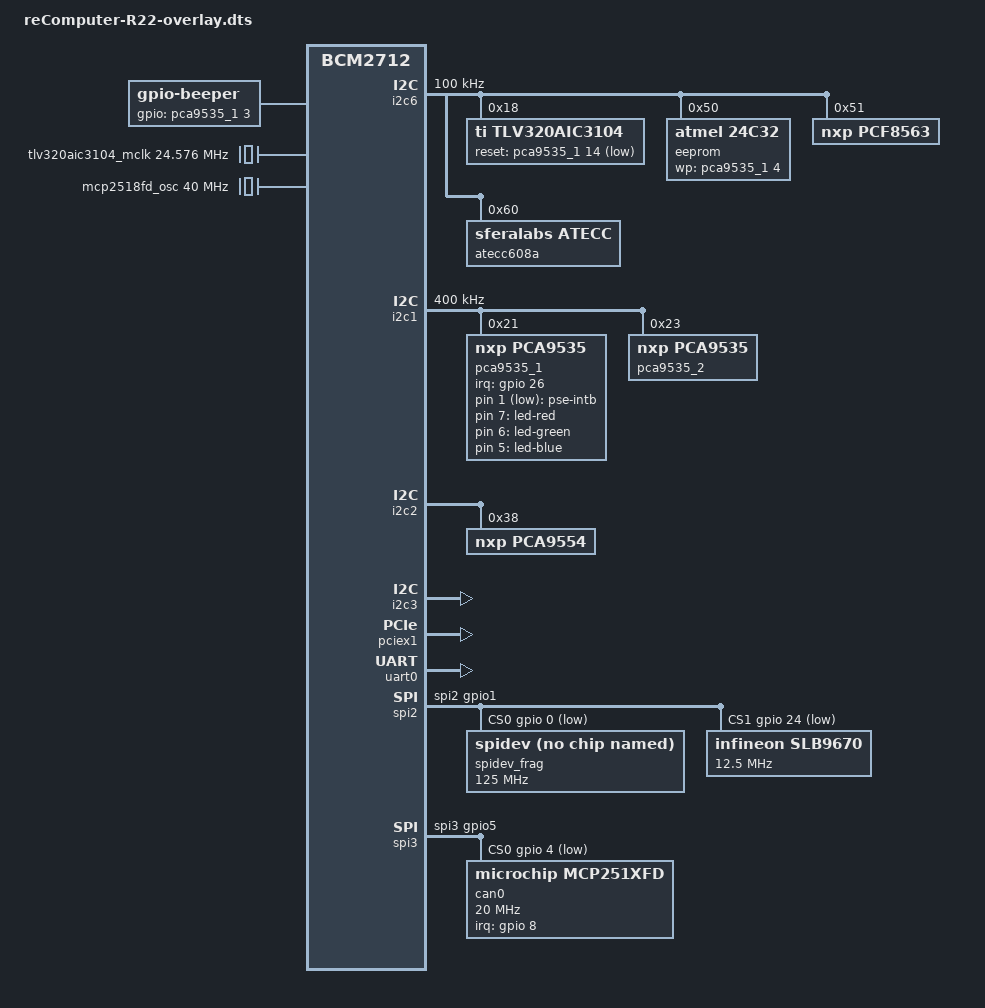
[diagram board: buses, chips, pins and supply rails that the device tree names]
/dts-v1/;
/plugin/;

#include "dt-bindings/gpio/gpio.h"
#include <dt-bindings/input/input.h>
#include <dt-bindings/interrupt-controller/irq.h>

/ {
	compatible = "brcm,bcm2712";
	
	fragment@0 {
		target-path="/";
		__overlay__ {
			hardware = "reComputer R22";
		};
	};
	
	fragment@1 {
		target = <&i2c6>;
		__overlay__ {
			status = "okay";
			pinctrl-0 = <&rp1_i2c6_38_39>;
			pinctrl-names = "default";
			clock-frequency = <100000>;
			#address-cells = <1>;
			#size-cells = <0>;
			
			tlv320aic3104: tlv320aic3104@18 {
				#sound-dai-cells = <0>;
				compatible = "ti,tlv320aic3104";
				reg = <0x18>;
				gpio-reset = <&pca9535_1 14 GPIO_ACTIVE_LOW>;
				ai3x-micbias-vg = <2>;// set MICBIAS to 2.5v
			};
			
			eeprom@50 {
				compatible = "atmel,24c32";
				reg = <0x50>;
				wp-gpios = <&pca9535_1 4 0>;
			};
			
			pcf8563@51 {
				compatible = "nxp,pcf8563";
				reg = <0x51>;
				reset-source;
				/* 0 = 4096Hz, 1 = 64Hz, 2 = 1Hz, 3 = 1/60Hz */
				timer-frequency = <0x02>;
				/* Timeout count, max 255 min 2*/
				default-timeout =  <120>;
				min-hw-heartbeat-ms = <2000>;
			};
			
			atecc608a@60 {
				compatible = "sferalabs,atecc";
				reg = <0x60>;
				status = "okay";
			};
		};
	};
	
	fragment@2 {
		target = <&i2c1>;
		__overlay__ {
			status = "okay";
			pinctrl-0 = <&rp1_i2c1_10_11>;
			pinctrl-names = "default";
			clock-frequency = <400000>;
			#address-cells = <1>;
			#size-cells = <0>;
			
			pca9535_1: pca@21 {
				compatible = "nxp,pca9535";
				reg = <0x21>;
				status = "okay";
				
				gpio-controller;
				#gpio-cells = <2>;
				interrupt-controller;
				#interrupt-cells = <2>;

				interrupt-parent = <&gpio>;
				interrupts = <26 IRQ_TYPE_LEVEL_LOW>;

				gpio-line-names =
				"PSE_PG",
				"PSE_INTB",
				"TPM_RST",
				"Buzzer_EN",
				"EEP_WP",
				"USER_LED_B",
				"USER_LED_G",
				"USER_LED_R",
				"LoRaWAN_SX1302_RST",
				"LoRaWAN_SX1262_RST",
				"LoRaWAN_SX1262_CS",
				"RS485_POWER_EN",
				"CH344_RST",
				"PSE_PWR_EN",
				"Codec_RST",
				"LAN7800_RST"
				;
				
				PSE_PG {
					gpios = <&pca9535_1 0 0>;
					output-high;
					line-name = "PSE_PG";
				};
				
				PSE_INTB {
					gpios = <&pca9535_1 1 0>;
					output-high;
					line-name = "PSE_INTB";
				};
				
				TPM_RST {
					gpios = <&pca9535_1 2 0>;
					output-high;
					line-name = "TPM_RST";
				};
				
				Buzzer_EN {
					gpios = <&pca9535_1 3 0>;
					output-high;
					line-name = "Buzzer_EN";
				};
				
				EEP_WP {
					gpios = <&pca9535_1 4 0>;
					output-high;
					line-name = "EEP_WP";
				};
				
				USER_LED_B {
					gpios = <&pca9535_1 5 0>;
					output-high;
					line-name = "USER_LED_B";
				};
				
				USER_LED_G {
					gpios = <&pca9535_1 6 0>;
					output-high;
					line-name = "USER_LED_G";
				};
				
				USER_LED_R {
					gpios = <&pca9535_1 7 0>;
					output-high;
					line-name = "USER_LED_R";
				};
				
				LoRaWAN_SX1302_RST {
					gpios = <&pca9535_1 8 0>;
					output-low;
					line-name = "LoRaWAN_SX1302_RST";
				};
				
				LoRaWAN_SX1262_RST {
					gpios = <&pca9535_1 9 0>;
					output-low;
					line-name = "LoRaWAN_SX1262_RST";
				};
				
				LoRaWAN_SX1262_CS {
					gpios = <&pca9535_1 10 0>;
					output-low;
					line-name = "LoRaWAN_SX1262_CS";
				};
				
				RS485_POWER_EN {
					gpios = <&pca9535_1 11 0>;
					output-low;
					line-name = "RS485_POWER_EN";
				};
				
				CH344_RST {
					gpios = <&pca9535_1 12 0>;
					output-low;
					line-name = "CH344_RST";
				};
				
				PSE_PWR_EN {
					gpios = <&pca9535_1 13 0>;
					output-low;
					line-name = "PSE_PWR_EN";
				};
				
				Codec_RST {
					gpios = <&pca9535_1 14 0>;
					
					output-high;
					line-name = "Codec_RST";
				};
				
				LAN7800_RST {
					gpios = <&pca9535_1 15 0>;
					output-low;
					line-name = "LAN7800_RST";
				};
			};
			
			pca9535_2: pca@23 {
				compatible = "nxp,pca9535";
				reg = <0x23>;
				status = "okay";
				
				gpio-controller;
				#gpio-cells = <2>;
				
				gpio-line-names =
				"P0",
				"P1",
				"P2",
				"P3",
				"P4",
				"P5",
				"P6",
				"P7",
				"485_1_120R_EN",
				"485_2_120R_EN",
				"CAN_120R_EN",
				"P13",
				"P14",
				"P15",
				"P16",
				"P17"
				;
				
				485_1_120R_EN {
					gpios = <&pca9535_2 8 0>;
					output-high;
					line-name = "485_1_120R_EN";
				};
				
				485_2_120R_EN {
					gpios = <&pca9535_2 9 0>;
					output-high;
					line-name = "485_2_120R_EN";
				};
				
				CAN_120R_EN {
					gpios = <&pca9535_2 10 0>;
					output-high;
					line-name = "CAN_120R_EN";
				};
			};
		};
	};
	
	fragment@3 {
		target = <&i2c2>;
		__overlay__ {
			status = "okay";
			pinctrl-0 = <&rp1_i2c2_12_13>;
			pinctrl-names = "default";
			#address-cells = <1>;
			#size-cells = <0>;
			
			pca9554: pca@38 {
				compatible = "nxp,pca9554";
				reg = <0x38>;
				status = "okay";
				
				gpio-controller;
				#gpio-cells = <2>;
				
				gpio-line-names =
				"M2B_POWER_OFF",
				"M2B_W_DISABLE1",
				"M2B_DPR_3V3",
				"M2B_W_DISABLE2",
				"SIM_MUX_SEL",
				"M2B_PCIe_Reset_3V3"
				;
				
				M2B_POWER_OFF {
					gpios = <&pca9554 0 0>;
					output-high;
					line-name = "M2B_POWER_OFF";
				};
				
				M2B_W_DISABLE1 {
					gpios = <&pca9554 1 0>;
					output-low;
					line-name = "M2B_W_DISABLE1";
				};
				
				M2B_DPR_3V3 {
					gpios = <&pca9554 2 0>;
					output-high;
					line-name = "M2B_DPR_3V3";
				};
				
				M2B_W_DISABLE2 {
					gpios = <&pca9554 3 0>;
					output-high;
					line-name = "M2B_W_DISABLE2";
				};
				
				SIM_MUX_SEL {
					gpios = <&pca9554 4 0>;
					output-high;
					line-name = "SIM_MUX_SEL";
				};
				
				M2B_PCIe_Reset_3V3 {
					gpios = <&pca9554 5 0>;
					output-low;
					line-name = "M2B_PCIe_Reset_3V3";
				};
			};
		};
	};
	
	fragment@4 {
		target = <&i2c3>;
		__overlay__ {
			status = "okay";
			pinctrl-0 = <&rp1_i2c3_22_23>;
			pinctrl-names = "default";
			#address-cells = <1>;
			#size-cells = <0>;
		};
	};
	
	fragment@5 {
		target-path="/";
		__overlay__ {
			beeper: beeper {
				compatible = "gpio-beeper";
				gpios = <&pca9535_1 3 0>;
				status = "okay";
			};
		};
	};
	
	fragment@6 {
		target = <&leds>;
		__overlay__ {
			compatible = "gpio-leds";
			led_red: led_red {
				label = "led-red";
				linux,default-trigger = "default-off";
				gpios = <&pca9535_1 7 0>;
				default-state = "off";
			};
			
			led_green: led_green {
				label = "led-green";
				linux,default-trigger = "default-off";
				gpios = <&pca9535_1 6 0>;
				default-state = "off";
			};
			
			led_blue: led_blue {
				label = "led-blue";
				linux,default-trigger = "default-off";
				gpios = <&pca9535_1 5 0>;
				default-state = "off";
			};
		};
	};
	
	fragment@7 {
		target = <&pciex1>;
		__overlay__ {
			max-link-speed = <3>;
			status = "okay";
		};
	};
	
	fragment@8 {
		target = <&uart0>;
		__overlay__ {
			status = "okay";
		};
	};
	
	fragment@9 {
		target = <&gpio>;
		__overlay__ {
			spi2_cs_pins: spi2_cs_pins {
				functions = "spi2";
				pins = "gpio0", "gpio24";
				bias-pull-up;
			};
		};
	};
	
	fragment@10 {
		target = <&spi2>;
		__overlay__ {
			status = "okay";
			pinctrl-names = "default";
			pinctrl-0 = <&rp1_spi2_gpio1 &spi2_cs_pins>;
			cs-gpios = <&gpio 0 1>, <&gpio 24 1>;
			
			#address-cells = <1>;
			#size-cells = <0>;
			
			spidev_frag: spidev@0 {
				compatible = "spidev";
				reg = <0>;      /* CE0 */
				#address-cells = <1>;
				#size-cells = <0>;
				spi-max-frequency = <125000000>;
				status = "okay";
			};
			
			slb9670: slb9670@1 {
				compatible = "infineon,slb9670";
				reg = <1>;  /* CE1 */
				#address-cells = <1>;
				#size-cells = <0>;
				spi-max-frequency = <12500000>;
				status = "okay";
			};
		};
	};
	
	fragment@11 {
		target-path = "/clocks";
		__overlay__ {
			/* external 40M oscillator of mcp2518fd on SPI3.0 */
			mcp2518fd_osc: mcp2518fd_osc {
				compatible = "fixed-clock";
				#clock-cells = <0>;
				clock-frequency  = <40000000>;
			};
		};
	};
	
	fragment@12 {
		target = <&gpio>;
		__overlay__ {
			can_int_pins: can_int_pins {
				brcm,pins = <8>;
				brcm,function = <0>; /* input */
			};

            spi3_cs_pins: spi3_cs_pins {
                functions = "spi3";
                pins = "gpio4", "gpio25";
                bias-pull-up;
            };
		};
	};
	
	fragment@13 {
		target = <&spi3>;
		__overlay__ {
			status = "okay";
			pinctrl-names = "default";
			pinctrl-0 = <&rp1_spi3_gpio5 &spi3_cs_pins>;
			cs-gpios = <&gpio 4 1>, <&gpio 25 1>;
			
			#address-cells = <1>;
			#size-cells = <0>;
			
			can0: can0@0 {
				reg = <0>;
				pinctrl-names = "default";
				pinctrl-0 = <&can_int_pins>;
				compatible = "microchip,mcp251xfd";
				spi-max-frequency = <20000000>;
				interrupt-parent = <&gpio>;
				interrupts = <8 8>; /* IRQ_TYPE_LEVEL_LOW */
				clocks = <&mcp2518fd_osc>;
			};
		};
	};
	
	fragment@14 {
		target = <&i2s_clk_consumer>;
		__overlay__ {
			status = "okay";
		};
	};
	
	fragment@15 {
		target-path="/";
		__overlay__ {
			tlv320aic3104_mclk: tlv320aic3104_mclk {
				#clock-cells = <0>;
				compatible = "fixed-clock";
				clock-frequency = <24576000>;
			};
		};
	};
	
	fragment@16 {
		target = <&sound>;
		slave_overlay: __overlay__ {
			compatible = "simple-audio-card";
			simple-audio-card,format = "i2s";
			simple-audio-card,name = "seeed2micvoicec";
			i2s-controller = <&i2s_clk_consumer>;
			status = "okay";
			
			simple-audio-card,widgets =
			"Headphone", "Headphone Jack",
			"Line", "Line In";
			simple-audio-card,routing =
			"Headphone Jack", "HPLOUT",
			"Headphone Jack", "HPROUT",
			"MIC2L",         "Line In",
			"MIC2R",         "Line In";
			
			simple-audio-card,bitclock-master = <&sound_master>;
			simple-audio-card,frame-master = <&sound_master>;
			
			simple-audio-card,cpu {
				sound-dai = <&i2s_clk_consumer>;
			};
			sound_master: simple-audio-card,codec {
				#sound-dai-cells = <0>;
				sound-dai = <&tlv320aic3104>;
				clocks = <&tlv320aic3104_mclk>;
				clock-names = "mclk";
			};
		};
	};

	fragment@17 {
		target-path="/";
		__overlay__ {
			gpio_pse_int: gpio-pse-int {
				compatible = "gpio-keys";
				status = "okay";
				pse_intb: pse-intb {
					label = "pse-intb";
					linux,code = <116>;
					gpios = <&pca9535_1 1 GPIO_ACTIVE_LOW>;
				};
			};
		};
	};
};
